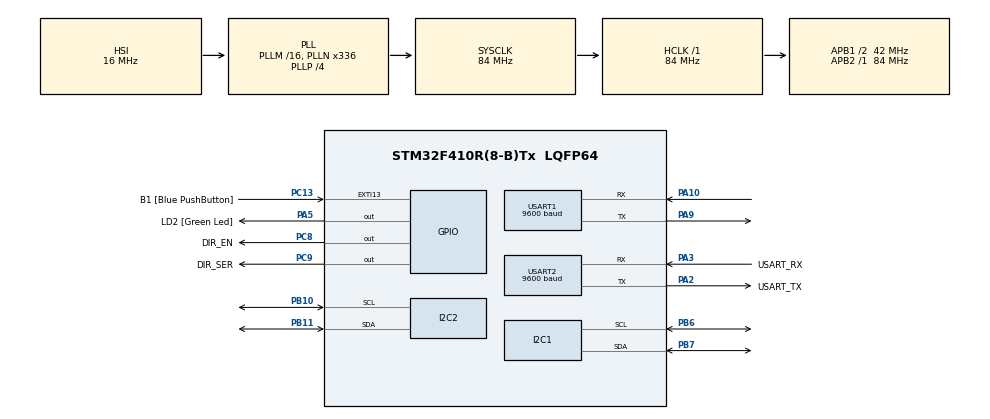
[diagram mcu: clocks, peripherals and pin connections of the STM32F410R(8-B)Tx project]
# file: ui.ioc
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Mcu.Family=STM32F4
Mcu.Name=STM32F410R(8-B)Tx
Mcu.Package=LQFP64
NVIC.PriorityGroup=NVIC_PRIORITYGROUP_0
PA10.Mode=Asynchronous
PA10.Signal=USART1_RX
PA13.GPIO_Label=TMS
PA13.Mode=Serial_Wire
PA13.Signal=SYS_JTMS-SWDIO
PA14.GPIO_Label=TCK
PA14.Mode=Serial_Wire
PA14.Signal=SYS_JTCK-SWCLK
PA2.GPIO_Label=USART_TX
PA2.Mode=Asynchronous
PA2.Signal=USART2_TX
PA3.GPIO_Label=USART_RX
PA3.Mode=Asynchronous
PA3.Signal=USART2_RX
PA5.GPIO_Label=LD2 [Green Led]
PA5.Signal=GPIO_Output
PA9.Mode=Asynchronous
PA9.Signal=USART1_TX
PB10.Mode=I2C
PB10.Signal=I2C2_SCL
PB11.Mode=I2C
PB11.Signal=I2C2_SDA
PB3.GPIO_Label=SWO
PB3.Signal=SYS_JTDO-SWO
PB6.Mode=I2C
PB6.Signal=I2C1_SCL
PB7.Mode=I2C
PB7.Signal=I2C1_SDA
PC13-ANTI_TAMP.GPIO_Label=B1 [Blue PushButton]
PC13-ANTI_TAMP.GPIO_ModeDefaultEXTI=GPIO_MODE_IT_FALLING
PC13-ANTI_TAMP.Signal=GPXTI13
PC14-OSC32_IN.Mode=LSE-External-Oscillator
PC14-OSC32_IN.Signal=RCC_OSC32_IN
PC15-OSC32_OUT.Mode=LSE-External-Oscillator
PC15-OSC32_OUT.Signal=RCC_OSC32_OUT
PC8.GPIO_Label=DIR_EN
PC8.Signal=GPIO_Output
PC9.GPIO_Label=DIR_SER
PC9.Signal=GPIO_Output
PH0\ -\ OSC_IN.Mode=HSE-External-Clock-Source
PH0\ -\ OSC_IN.Signal=RCC_OSC_IN
PH1\ -\ OSC_OUT.Mode=HSE-External-Clock-Source
PH1\ -\ OSC_OUT.Signal=RCC_OSC_OUT
ProjectManager.HeapSize=0x200
ProjectManager.StackSize=0x400
ProjectManager.TargetToolchain=STM32CubeIDE
RCC.48MHZClocksFreq_Value=84000000
RCC.AHBFreq_Value=84000000
RCC.APB1CLKDivider=RCC_HCLK_DIV2
RCC.APB1Freq_Value=42000000
RCC.APB1TimFreq_Value=84000000
RCC.APB2Freq_Value=84000000
RCC.APB2TimFreq_Value=84000000
RCC.CortexFreq_Value=84000000
RCC.FLatency-AdvancedSettings=FLASH_LATENCY_2
RCC.HCLKFreq_Value=84000000
RCC.HSE_VALUE=8000000
RCC.HSI_VALUE=16000000
RCC.PLLN=336
RCC.PLLP=RCC_PLLP_DIV4
RCC.SYSCLKFreq_VALUE=84000000
RCC.SYSCLKSource=RCC_SYSCLKSOURCE_PLLCLK
RCC.VCOOutputFreq_Value=336000000
USART1.BaudRate=9600
USART1.VirtualMode=VM_ASYNC
USART2.BaudRate=9600
USART2.VirtualMode=VM_ASYNC
VP_TIM1_VS_ClockSourceINT.Mode=Internal
board=NUCLEO-F410RB

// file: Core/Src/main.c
/* USER CODE BEGIN Header */
/**
 ******************************************************************************
 * @file           : main.c
 * @brief          : Main program body
 ******************************************************************************
 * @attention
 *
 * <h2><center>&copy; Copyright (c) 2022 STMicroelectronics.
 * All rights reserved.</center></h2>
 *
 * This software component is licensed by ST under BSD 3-Clause license,
 * the "License"; You may not use this file except in compliance with the
 * License. You may obtain a copy of the License at:
 *                        opensource.org/licenses/BSD-3-Clause
 *
 ******************************************************************************
 */
/* USER CODE END Header */
#include "main.h"

I2C_HandleTypeDef hi2c1;
I2C_HandleTypeDef hi2c2;

TIM_HandleTypeDef htim1;

UART_HandleTypeDef huart1;
UART_HandleTypeDef huart2;

void SystemClock_Config(void);
static void MX_GPIO_Init(void);
static void MX_USART2_UART_Init(void);
static void MX_USART1_UART_Init(void);
static void MX_I2C1_Init(void);
static void MX_I2C2_Init(void);
static void MX_TIM1_Init(void);

int main(void)
{

  /* MCU Configuration--------------------------------------------------------*/

  /* Reset of all peripherals, Initializes the Flash interface and the Systick. */
  HAL_Init();

  /* Configure the system clock */
  SystemClock_Config();

  /* Initialize all configured peripherals */
  MX_GPIO_Init();
  MX_USART2_UART_Init();
  MX_USART1_UART_Init();
  MX_I2C1_Init();
  MX_I2C2_Init();
  MX_TIM1_Init();
  /* USER CODE BEGIN 2 */

  b1.x = UTM_B1_X;
  b1.y = UTM_B1_Y;
  b1.d = 0;
  b2.x = UTM_B2_X;
  b2.y = UTM_B2_Y;
  b2.d = 0;
  b3.x = UTM_B3_X;
  b3.y = UTM_B3_Y ;
  b3.d = 0;

  compass.ADDR_Control_RegisterA = ADDR_REG_A;
  compass.ADDR_Control_RegisterB = ADDR_REG_B;
  compass.ADDR_Mode_Register = ADDR_REG_MODE;
  compass.ADDR_Status_Register = ADDR_REG_STATUS;

  config.gain = _4_0;
  config.meas_mode = Normal;
  config.op_mode = Continuous_meas;
  config.output_rate = 75;
  config.samples_num = eight;

  QMC_init(&compass,&hi2c2,&config);

  SetupServo(SERVO_PWM_GPIO_Port, SERVO_PWM_Pin);
  Setup_DC_Motor(&htim2, TIM_CHANNEL_2);

  SetDutyCycle_DC_Motor(&htim2, TIM_CHANNEL_2, 30);
  HAL_Delay(2000);
  SetDirection_DC_Motor(Back);
  HAL_Delay(1000);
  SetDirection_DC_Motor(Stop);
  HAL_Delay(1000);

  GPIO_InitTypeDef button_GPIO;

  // Configurando o pino do botão como entrada
  button_GPIO.Pin = GPIO_PIN_0;
  button_GPIO.Mode = GPIO_MODE_INPUT;
  button_GPIO.Pull = GPIO_PULLUP;
  button_GPIO.Speed = GPIO_SPEED_FREQ_LOW;
  HAL_GPIO_Init(GPIOA, &button_GPIO);

  uint8_t state = 1;
  float8_t Kd = 0.1;
  setupBLE(&huart1, &huart2);
  setName("myBLEM");
//  setBeaconUuid("FDB50693A4E24FB1AFCFC6EB07647825");
  setRole(MASTER);
  Device_t *devices = masterScanForSlaves(&huart2);
  char message[100];
//  char *message = "Roi \r\n";

  sprintf(message, "Device %d has mac %s, signal strength %d and name %s \r\n", devices[0].index, devices[0].mac, devices[0].signalStrength, devices[0].name);
  HAL_UART_Transmit(&huart2, (uint8_t *) message, strlen (message), HAL_MAX_DELAY);

  /* USER CODE END 2 */

  /* Infinite loop */
  while (1) {
  }

}

void SystemClock_Config(void)
{
  RCC_OscInitTypeDef RCC_OscInitStruct = {0};
  RCC_ClkInitTypeDef RCC_ClkInitStruct = {0};

  /** Configure the main internal regulator output voltage
  */
  __HAL_RCC_PWR_CLK_ENABLE();
  __HAL_PWR_VOLTAGESCALING_CONFIG(PWR_REGULATOR_VOLTAGE_SCALE1);

  /** Initializes the RCC Oscillators according to the specified parameters
  * in the RCC_OscInitTypeDef structure.
  */
  RCC_OscInitStruct.OscillatorType = RCC_OSCILLATORTYPE_HSI;
  RCC_OscInitStruct.HSIState = RCC_HSI_ON;
  RCC_OscInitStruct.HSICalibrationValue = RCC_HSICALIBRATION_DEFAULT;
  RCC_OscInitStruct.PLL.PLLState = RCC_PLL_ON;
  RCC_OscInitStruct.PLL.PLLSource = RCC_PLLSOURCE_HSI;
  RCC_OscInitStruct.PLL.PLLM = 16;
  RCC_OscInitStruct.PLL.PLLN = 336;
  RCC_OscInitStruct.PLL.PLLP = RCC_PLLP_DIV4;
  RCC_OscInitStruct.PLL.PLLQ = 4;
  RCC_OscInitStruct.PLL.PLLR = 2;
  if (HAL_RCC_OscConfig(&RCC_OscInitStruct) != HAL_OK)
  {
    Error_Handler();
  }

  /** Initializes the CPU, AHB and APB buses clocks
  */
  RCC_ClkInitStruct.ClockType = RCC_CLOCKTYPE_HCLK|RCC_CLOCKTYPE_SYSCLK
                              |RCC_CLOCKTYPE_PCLK1|RCC_CLOCKTYPE_PCLK2;
  RCC_ClkInitStruct.SYSCLKSource = RCC_SYSCLKSOURCE_PLLCLK;
  RCC_ClkInitStruct.AHBCLKDivider = RCC_SYSCLK_DIV1;
  RCC_ClkInitStruct.APB1CLKDivider = RCC_HCLK_DIV2;
  RCC_ClkInitStruct.APB2CLKDivider = RCC_HCLK_DIV1;

  if (HAL_RCC_ClockConfig(&RCC_ClkInitStruct, FLASH_LATENCY_2) != HAL_OK)
  {
    Error_Handler();
  }
}

static void MX_I2C1_Init(void)
{

  hi2c1.Instance = I2C1;
  hi2c1.Init.ClockSpeed = 100000;
  hi2c1.Init.DutyCycle = I2C_DUTYCYCLE_2;
  hi2c1.Init.OwnAddress1 = 0;
  hi2c1.Init.AddressingMode = I2C_ADDRESSINGMODE_7BIT;
  hi2c1.Init.DualAddressMode = I2C_DUALADDRESS_DISABLE;
  hi2c1.Init.OwnAddress2 = 0;
  hi2c1.Init.GeneralCallMode = I2C_GENERALCALL_DISABLE;
  hi2c1.Init.NoStretchMode = I2C_NOSTRETCH_DISABLE;
  if (HAL_I2C_Init(&hi2c1) != HAL_OK)
  {
    Error_Handler();
  }

}

static void MX_I2C2_Init(void)
{

  hi2c2.Instance = I2C2;
  hi2c2.Init.ClockSpeed = 100000;
  hi2c2.Init.DutyCycle = I2C_DUTYCYCLE_2;
  hi2c2.Init.OwnAddress1 = 0;
  hi2c2.Init.AddressingMode = I2C_ADDRESSINGMODE_7BIT;
  hi2c2.Init.DualAddressMode = I2C_DUALADDRESS_DISABLE;
  hi2c2.Init.OwnAddress2 = 0;
  hi2c2.Init.GeneralCallMode = I2C_GENERALCALL_DISABLE;
  hi2c2.Init.NoStretchMode = I2C_NOSTRETCH_DISABLE;
  if (HAL_I2C_Init(&hi2c2) != HAL_OK)
  {
    Error_Handler();
  }

}

static void MX_TIM1_Init(void)
{

  TIM_ClockConfigTypeDef sClockSourceConfig = {0};
  TIM_MasterConfigTypeDef sMasterConfig = {0};

  htim1.Instance = TIM1;
  htim1.Init.Prescaler = 0;
  htim1.Init.CounterMode = TIM_COUNTERMODE_UP;
  htim1.Init.Period = 65535;
  htim1.Init.ClockDivision = TIM_CLOCKDIVISION_DIV1;
  htim1.Init.RepetitionCounter = 0;
  htim1.Init.AutoReloadPreload = TIM_AUTORELOAD_PRELOAD_DISABLE;
  if (HAL_TIM_Base_Init(&htim1) != HAL_OK)
  {
    Error_Handler();
  }
  sClockSourceConfig.ClockSource = TIM_CLOCKSOURCE_INTERNAL;
  if (HAL_TIM_ConfigClockSource(&htim1, &sClockSourceConfig) != HAL_OK)
  {
    Error_Handler();
  }
  sMasterConfig.MasterOutputTrigger = TIM_TRGO_RESET;
  sMasterConfig.MasterSlaveMode = TIM_MASTERSLAVEMODE_DISABLE;
  if (HAL_TIMEx_MasterConfigSynchronization(&htim1, &sMasterConfig) != HAL_OK)
  {
    Error_Handler();
  }

}

static void MX_USART1_UART_Init(void)
{

  huart1.Instance = USART1;
  huart1.Init.BaudRate = 9600;
  huart1.Init.WordLength = UART_WORDLENGTH_8B;
  huart1.Init.StopBits = UART_STOPBITS_1;
  huart1.Init.Parity = UART_PARITY_NONE;
  huart1.Init.Mode = UART_MODE_TX_RX;
  huart1.Init.HwFlowCtl = UART_HWCONTROL_NONE;
  huart1.Init.OverSampling = UART_OVERSAMPLING_16;
  if (HAL_UART_Init(&huart1) != HAL_OK)
  {
    Error_Handler();
  }

}

static void MX_USART2_UART_Init(void)
{

  huart2.Instance = USART2;
  huart2.Init.BaudRate = 9600;
  huart2.Init.WordLength = UART_WORDLENGTH_8B;
  huart2.Init.StopBits = UART_STOPBITS_1;
  huart2.Init.Parity = UART_PARITY_NONE;
  huart2.Init.Mode = UART_MODE_TX_RX;
  huart2.Init.HwFlowCtl = UART_HWCONTROL_NONE;
  huart2.Init.OverSampling = UART_OVERSAMPLING_16;
  if (HAL_UART_Init(&huart2) != HAL_OK)
  {
    Error_Handler();
  }

}

static void MX_GPIO_Init(void)
{
  GPIO_InitTypeDef GPIO_InitStruct = {0};

  /* GPIO Ports Clock Enable */
  __HAL_RCC_GPIOC_CLK_ENABLE();
  __HAL_RCC_GPIOH_CLK_ENABLE();
  __HAL_RCC_GPIOA_CLK_ENABLE();
  __HAL_RCC_GPIOB_CLK_ENABLE();

  /*Configure GPIO pin Output Level */
  HAL_GPIO_WritePin(LD2_GPIO_Port, LD2_Pin, GPIO_PIN_RESET);

  /*Configure GPIO pin Output Level */
  HAL_GPIO_WritePin(GPIOC, DIR_EN_Pin|DIR_SER_Pin, GPIO_PIN_RESET);

  /*Configure GPIO pin : B1_Pin */
  GPIO_InitStruct.Pin = B1_Pin;
  GPIO_InitStruct.Mode = GPIO_MODE_IT_FALLING;
  GPIO_InitStruct.Pull = GPIO_NOPULL;
  HAL_GPIO_Init(B1_GPIO_Port, &GPIO_InitStruct);

  /*Configure GPIO pin : LD2_Pin */
  GPIO_InitStruct.Pin = LD2_Pin;
  GPIO_InitStruct.Mode = GPIO_MODE_OUTPUT_PP;
  GPIO_InitStruct.Pull = GPIO_NOPULL;
  GPIO_InitStruct.Speed = GPIO_SPEED_FREQ_LOW;
  HAL_GPIO_Init(LD2_GPIO_Port, &GPIO_InitStruct);

  /*Configure GPIO pins : DIR_EN_Pin DIR_SER_Pin */
  GPIO_InitStruct.Pin = DIR_EN_Pin|DIR_SER_Pin;
  GPIO_InitStruct.Mode = GPIO_MODE_OUTPUT_PP;
  GPIO_InitStruct.Pull = GPIO_NOPULL;
  GPIO_InitStruct.Speed = GPIO_SPEED_FREQ_LOW;
  HAL_GPIO_Init(GPIOC, &GPIO_InitStruct);

}

void Error_Handler(void)
{
  __disable_irq();
  while (1) {
  }
}

#ifdef  USE_FULL_ASSERT
/**
  * @brief  Reports the name of the source file and the source line number
  *         where the assert_param error has occurred.
  * @param  file: pointer to the source file name
  * @param  line: assert_param error line source number
  * @retval None
  */
void assert_failed(uint8_t *file, uint32_t line)
{
  /* USER CODE BEGIN 6 */
  /* User can add his own implementation to report the file name and line
     number,
     ex: printf("Wrong parameters value: file %s on line %d\r\n", file, line) */
  /* USER CODE END 6 */
}
#endif /* USE_FULL_ASSERT */
